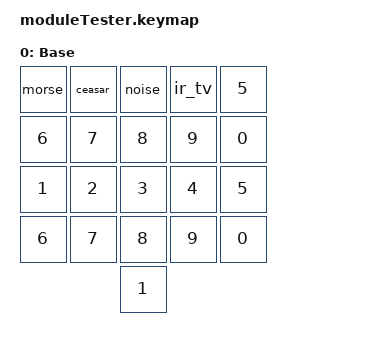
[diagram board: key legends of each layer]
#include <behaviors.dtsi>
#include <dt-bindings/zmk/keys.h>
#include <dt-bindings/zmk/behaviors.h>


#include <behaviors/morse.dtsi> // include for the morse reference
#include <behaviors/ceasar.dtsi> // include for the ceasar reference
#include <behaviors/noise.dtsi> // include for the ceasar reference

/ {  
    keymap {
        compatible = "zmk,keymap";
        
        default_layer {
            display-name = "Base";
            bindings = <
                &morse    &ceasar    &noise    &ir_tv    &kp N5  
                &kp N6    &kp N7    &kp N8    &kp N9    &kp N0  
                &kp N1    &kp N2    &kp N3    &kp N4    &kp N5  
                &kp N6    &kp N7    &kp N8    &kp N9    &kp N0  
                &kp N1
            >;
        };
    };
 };
